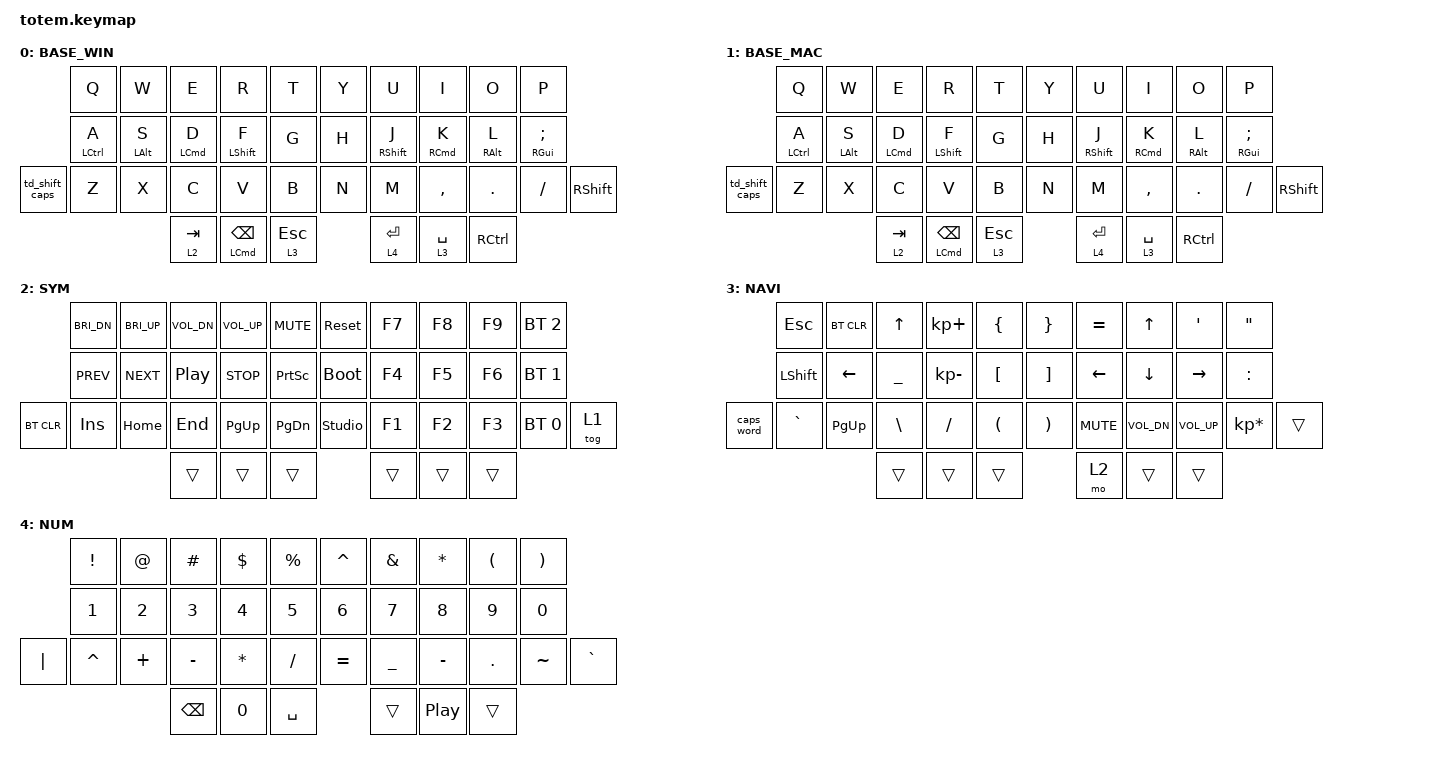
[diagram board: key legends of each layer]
//
//                                                        ▀▀▀▀▀     ▀▀▀▀▀          ▀▀█▀▀
//                                                        ▄▀▀▀▄  ▄  ▄▀▀▀▄  ▄  ▄▀▀▀▄  █  ▄▀▀▀▄
//                                                        █   █  █  █   █  █  █   █  █  █   █
//                                                         ▀▀▀   █   ▀▀▀   █   ▀▀▀   ▀   ▀▀▀
//                                                               █      ▄▄▄█▄▄▄    █   █  
//                                                               ▀      █  █  █     █▄█
//                                                             ▀▀▀▀▀    █  █  █      ▀
//                                                                      ▀  ▀  ▀
//
// ▄▄▄▄▄▄▄▄▄▄▄▄▄▄▄▄▄▄▄▄▄▄▄▄▄▄▄▄▄▄▄▄▄▄▄▄▄▄▄▄▄▄▄▄▄▄▄▄▄▄▄▄▄▄▄▄▄▄▄▄▄▄▄▄▄▄▄▄▄▄▄▄▄▄▄▄▄▄▄▄▄▄▄▄▄▄▄▄▄▄▄▄▄▄▄▄▄▄▄▄▄▄▄▄▄▄▄▄▄▄▄▄▄▄▄▄▄▄▄▄▄▄▄▄▄▄▄▄▄▄▄▄▄▄▄▄▄▄▄▄▄▄▄▄▄▄▄▄▄

#include <behaviors.dtsi>
#include <dt-bindings/zmk/bt.h>
#include <dt-bindings/zmk/keys.h>

#define BASE 0
#define NAV  1
#define SYM  2
#define ADJ  3

&mt {
    quick-tap-ms = <250>;
    global-quick-tap;
    flavor = "tap-preferred";
    tapping-term-ms = <160>;
};

&lt {
    quick-tap-ms = <250>;
    tapping-term-ms = <160>;
    flavor = "tap-preferred";
};

/ {
    behaviors {
        td_shift_caps: td_shift_caps {
            compatible = "zmk,behavior-tap-dance";
            #binding-cells = <0>;
            tapping-term-ms = <200>;
            bindings = <&kp LSHFT>, <&kp CAPS>;
        };
    };

    combos {
        compatible = "zmk,combos";

        combo_esc {
            timeout-ms = <50>;
            key-positions = <0 1>;
            bindings = <&kp ESC>;
        };
    };

    macros {
        gif: gif {
            label = "giphy";
            compatible = "zmk,behavior-macro";
            #binding-cells = <0>;
            bindings =
                <&macro_press>,
                <&kp LSHFT>,
                <&macro_tap>,
                <&kp N2>,
                <&macro_release>,
                <&kp LSHFT>,
                <&macro_tap>,
                <&kp G &kp I &kp F>;
        };
    };

    keymap {
        compatible = "zmk,keymap";

        // ▄▄▄▄▄▄▄▄▄▄▄▄▄▄▄▄▄▄▄▄▄▄▄▄▄▄▄▄▄▄▄▄▄▄▄▄▄▄▄▄▄▄▄▄▄▄▄▄▄▄▄▄▄▄▄▄▄▄▄▄▄▄▄▄▄▄▄▄▄▄▄▄▄▄▄▄▄▄▄▄▄▄▄▄▄▄▄▄▄▄▄▄▄▄▄▄▄▄▄▄▄▄▄▄▄▄▄▄▄▄▄▄▄▄▄▄▄▄▄▄▄▄▄▄▄▄▄▄▄▄▄▄▄▄▄▄▄▄▄▄▄▄▄▄▄▄▄▄▄

        windows_base {
            // ┏━━━━━━━━━━━━━━━━━━━━━━━━━━━━━━━━━━━━━━━┓

            label = "BASE_WIN";

            // ┗━━━━━━━━━━━━━━━━━━━━━━━━━━━━━━━━━━━━━━━┛
            //             ┏━━━━━━━━━━━┳━━━━━━━━━━━┳━━━━━━━━━━━┳━━━━━━━━━━━┳━━━━━━━━━━━┓   ┏━━━━━━━━━━━┳━━━━━━━━━━━┳━━━━━━━━━━━┳━━━━━━━━━━━┳━━━━━━━━━━━┓
            //             ┃     Q     ┃     W     ┃     E     ┃     R     ┃     T     ┃   ┃     Y     ┃     U     ┃     I     ┃     O     ┃     P     ┃
            //             ┣━━━━━━━━━━━╋━━━━━━━━━━━╋━━━━━━━━━━━╋━━━━━━━━━━━╋━━━━━━━━━━━┫   ┣━━━━━━━━━━━╋━━━━━━━━━━━╋━━━━━━━━━━━╋━━━━━━━━━━━╋━━━━━━━━━━━┫
            //             ┃  A/Ctrl   ┃   S/Alt   ┃   D/Cmd   ┃   F/Shft  ┃     G     ┃   ┃     H     ┃   J/Shft  ┃   K/Cmd   ┃   L/Alt   ┃   ;/Gui   ┃
            // ┏━━━━━━━━━━━╋━━━━━━━━━━━╋━━━━━━━━━━━╋━━━━━━━━━━━╋━━━━━━━━━━━╋━━━━━━━━━━━┫   ┣━━━━━━━━━━━╋━━━━━━━━━━━╋━━━━━━━━━━━╋━━━━━━━━━━━╋━━━━━━━━━━━╋━━━━━━━━━━━┓
            // ┃   Shift   ┃     Z     ┃     X     ┃     C     ┃     V     ┃     B     ┃   ┃     N     ┃     M     ┃     ,     ┃     .     ┃     /     ┃   RSHFT   ┃
            // ┗━━━━━━━━━━━┻━━━━━━━━━━━┻━━━━━━━━━━━╋━━━━━━━━━━━╋━━━━━━━━━━━╋━━━━━━━━━━━┫   ┣━━━━━━━━━━━╋━━━━━━━━━━━╋━━━━━━━━━━━╋━━━━━━━━━━━┻━━━━━━━━━━━┻━━━━━━━━━━━┛
            //                                     ┃  TAB/L2   ┃ BSPC/Cmd  ┃  ESC/L3   ┃   ┃ ENTER/L4  ┃  SPC/L3   ┃   RCTRL   ┃
            //                                     ┗━━━━━━━━━━━┻━━━━━━━━━━━┻━━━━━━━━━━━┛   ┗━━━━━━━━━━━┻━━━━━━━━━━━┻━━━━━━━━━━━┛

            bindings = <
                &kp Q  &kp W       &kp E        &kp R            &kp T      &kp Y        &kp U        &kp I          &kp O       &kp P
                &mt LCTRL A  &mt LALT S  &mt LCMD D  &mt LSHFT F      &kp G      &kp H        &mt RSHFT J  &mt RCMD K  &mt RALT L  &mt RGUI SEMI
&td_shift_caps  &kp Z  &kp X       &kp C        &kp V            &kp B      &kp N        &kp M        &kp COMMA      &kp DOT     &kp SLASH  &kp RSHIFT
                                   &lt 2 TAB      &mt LCMD BACKSPACE  &lt 3 ESC       &lt 4 ENTER  &lt 3 SPACE   &kp RCTRL
            >;
        };

        MAC_BASE {
            label = "BASE_MAC";
            bindings = <
                &kp Q  &kp W       &kp E       &kp R            &kp T      &kp Y        &kp U        &kp I       &kp O       &kp P
                &mt LCTRL A  &mt LALT S  &mt LCMD D  &mt LSHFT F      &kp G      &kp H        &mt RSHFT J  &mt RCMD K  &mt RALT L  &mt RGUI SEMI
&td_shift_caps  &kp Z  &kp X       &kp C       &kp V            &kp B      &kp N        &kp M        &kp COMMA   &kp DOT     &kp SLASH  &kp RSHIFT
                                   &lt 2 TAB      &mt LCMD BACKSPACE  &lt 3 ESC       &lt 4 ENTER  &lt 3 SPACE   &kp RCTRL
            >;
        };

        sym_layer {
            // ┏━━━━━━━━━━━━━━━━━━━━━━━━━━━━━━━━━━━━━━━┓

            label = "SYM";

            // ┗━━━━━━━━━━━━━━━━━━━━━━━━━━━━━━━━━━━━━━━┛
            //             ┏━━━━━━━━━━━┳━━━━━━━━━━━┳━━━━━━━━━━━┳━━━━━━━━━━━┳━━━━━━━━━━━┓   ┏━━━━━━━━━━━┳━━━━━━━━━━━┳━━━━━━━━━━━┳━━━━━━━━━━━┳━━━━━━━━━━━┓
            //             ┃  BRI DN   ┃  BRI UP   ┃  VOL DN   ┃  VOL UP   ┃   MUTE    ┃   ┃   RESET   ┃    F7     ┃    F8     ┃    F9     ┃   BT 2    ┃
            //             ┣━━━━━━━━━━━╋━━━━━━━━━━━╋━━━━━━━━━━━╋━━━━━━━━━━━╋━━━━━━━━━━━┫   ┣━━━━━━━━━━━╋━━━━━━━━━━━╋━━━━━━━━━━━╋━━━━━━━━━━━╋━━━━━━━━━━━┫
            //             ┃   PREV    ┃   NEXT    ┃   PLAY    ┃   STOP    ┃   PSCR    ┃   ┃ BOOTLOAD  ┃    F4     ┃    F5     ┃    F6     ┃   BT 1    ┃
            // ┏━━━━━━━━━━━╋━━━━━━━━━━━╋━━━━━━━━━━━╋━━━━━━━━━━━╋━━━━━━━━━━━╋━━━━━━━━━━━┫   ┣━━━━━━━━━━━╋━━━━━━━━━━━╋━━━━━━━━━━━╋━━━━━━━━━━━╋━━━━━━━━━━━╋━━━━━━━━━━━┓
            // ┃  BT CLR   ┃   INS     ┃   HOME    ┃    END    ┃   PG UP   ┃  PG DN    ┃   ┃  UNLOCK   ┃    F1     ┃    F2     ┃    F3     ┃   BT 0    ┃   TOG 1   ┃
            // ┗━━━━━━━━━━━┻━━━━━━━━━━━┻━━━━━━━━━━━╋━━━━━━━━━━━╋━━━━━━━━━━━╋━━━━━━━━━━━┫   ┣━━━━━━━━━━━╋━━━━━━━━━━━╋━━━━━━━━━━━╋━━━━━━━━━━━┻━━━━━━━━━━━┻━━━━━━━━━━━┛
            //                                     ┃   trans   ┃   trans   ┃   trans   ┃   ┃   trans   ┃   trans   ┃   trans   ┃
            //                                     ┗━━━━━━━━━━━┻━━━━━━━━━━━┻━━━━━━━━━━━┛   ┗━━━━━━━━━━━┻━━━━━━━━━━━┻━━━━━━━━━━━┛

            bindings = <
              &kp C_BRI_DN    &kp C_BRI_UP   &kp C_VOL_DN          &kp C_VOL_UP           &kp C_MUTE         &sys_reset      &kp F7  &kp F8  &kp F9  &bt BT_SEL 2
              &kp C_PREV      &kp C_NEXT     &kp C_PP              &kp C_STOP             &kp PSCRN          &bootloader     &kp F4  &kp F5  &kp F6  &bt BT_SEL 1
&bt BT_CLR  &kp INS         &kp HOME       &kp END               &kp PG_UP              &kp PG_DN          &studio_unlock  &kp F1  &kp F2  &kp F3  &bt BT_SEL 0  &tog 1
                                             &trans                &trans                 &trans             &trans          &trans  &trans
            >;
        };

        nav_layer {
            // ┏━━━━━━━━━━━━━━━━━━━━━━━━━━━━━━━━━━━━━━━┓

            label = "NAVI";

            // ┗━━━━━━━━━━━━━━━━━━━━━━━━━━━━━━━━━━━━━━━┛
            //             ┏━━━━━━━━━━━┳━━━━━━━━━━━┳━━━━━━━━━━━┳━━━━━━━━━━━┳━━━━━━━━━━━┓   ┏━━━━━━━━━━━┳━━━━━━━━━━━┳━━━━━━━━━━━┳━━━━━━━━━━━┳━━━━━━━━━━━┓
            //             ┃   ESC     ┃  BT_CLR   ┃     UP    ┃     +     ┃     {     ┃   ┃     }     ┃     =     ┃    UP     ┃     '     ┃     "     ┃
            //             ┣━━━━━━━━━━━╋━━━━━━━━━━━╋━━━━━━━━━━━╋━━━━━━━━━━━╋━━━━━━━━━━━┫   ┣━━━━━━━━━━━╋━━━━━━━━━━━╋━━━━━━━━━━━╋━━━━━━━━━━━╋━━━━━━━━━━━┫
            //             ┃   SHIFT   ┃   LEFT    ┃    DOWN   ┃     -     ┃     [     ┃   ┃     ]     ┃   LEFT    ┃    DOWN   ┃   RIGHT   ┃     :     ┃
            // ┏━━━━━━━━━━━╋━━━━━━━━━━━╋━━━━━━━━━━━╋━━━━━━━━━━━╋━━━━━━━━━━━╋━━━━━━━━━━━┫   ┣━━━━━━━━━━━╋━━━━━━━━━━━╋━━━━━━━━━━━╋━━━━━━━━━━━╋━━━━━━━━━━━╋━━━━━━━━━━━┓
            // ┃  CAPS WD  ┃   GRAVE   ┃   PG UP   ┃   CAPS    ┃     _     ┃     (     ┃   ┃     )     ┃   MUTE    ┃   VOL-    ┃   VOL+    ┃     *     ┃   trans   ┃
            // ┗━━━━━━━━━━━┻━━━━━━━━━━━┻━━━━━━━━━━━╋━━━━━━━━━━━╋━━━━━━━━━━━╋━━━━━━━━━━━┫   ┣━━━━━━━━━━━╋━━━━━━━━━━━╋━━━━━━━━━━━╋━━━━━━━━━━━┻━━━━━━━━━━━┻━━━━━━━━━━━┛
            //                                     ┃   trans   ┃   trans   ┃   trans   ┃   ┃   SYM/L2  ┃   trans   ┃   trans   ┃
            //                                     ┗━━━━━━━━━━━┻━━━━━━━━━━━┻━━━━━━━━━━━┛   ┗━━━━━━━━━━━┻━━━━━━━━━━━┻━━━━━━━━━━━┛

            bindings = <
            &kp ESC    &bt BT_CLR  &kp UP    &kp KP_PLUS  &kp LBRC    &kp RBRC  &kp EQUAL         &kp UP_ARROW        &kp SQT    &kp DQT
            &kp LSHFT  &kp LEFT    &kp UNDER  &kp KP_MINUS  &kp LBKT    &kp RBKT  &kp LEFT       &kp DOWN  &kp RIGHT  &kp COLON
&caps_word  &kp GRAVE  &kp PG_UP   &kp BSLH  &kp SLASH  &kp LPAR    &kp RPAR  &kp C_MUTE     &kp C_VOL_DN  &kp C_VOL_UP  &kp KP_MULTIPLY  &trans
                                   &trans    &trans     &trans      &mo 2     &trans         &trans
            >;
        };

        num_layer {
            // ┏━━━━━━━━━━━━━━━━━━━━━━━━━━━━━━━━━━━━━━━┓

            label = "NUM";

            // ┗━━━━━━━━━━━━━━━━━━━━━━━━━━━━━━━━━━━━━━━┛
            //             ┏━━━━━━━━━━━┳━━━━━━━━━━━┳━━━━━━━━━━━┳━━━━━━━━━━━┳━━━━━━━━━━━┓   ┏━━━━━━━━━━━┳━━━━━━━━━━━┳━━━━━━━━━━━┳━━━━━━━━━━━┳━━━━━━━━━━━┓
            //             ┃     !     ┃     @     ┃     #     ┃     $     ┃     %     ┃   ┃     ^     ┃     &     ┃     *     ┃     (     ┃     )     ┃
            //             ┣━━━━━━━━━━━╋━━━━━━━━━━━╋━━━━━━━━━━━╋━━━━━━━━━━━╋━━━━━━━━━━━┫   ┣━━━━━━━━━━━╋━━━━━━━━━━━╋━━━━━━━━━━━╋━━━━━━━━━━━╋━━━━━━━━━━━┫
            //             ┃     1     ┃     2     ┃     3     ┃     4     ┃     5     ┃   ┃     6     ┃     7     ┃     8     ┃     9     ┃     0     ┃
            // ┏━━━━━━━━━━━╋━━━━━━━━━━━╋━━━━━━━━━━━╋━━━━━━━━━━━╋━━━━━━━━━━━╋━━━━━━━━━━━┫   ┣━━━━━━━━━━━╋━━━━━━━━━━━╋━━━━━━━━━━━╋━━━━━━━━━━━╋━━━━━━━━━━━╋━━━━━━━━━━━┓
            // ┃     |     ┃     ^     ┃     +     ┃     -     ┃     *     ┃     /     ┃   ┃     =     ┃     _     ┃     -     ┃     .     ┃     ~     ┃     `     ┃
            // ┗━━━━━━━━━━━┻━━━━━━━━━━━┻━━━━━━━━━━━╋━━━━━━━━━━━╋━━━━━━━━━━━╋━━━━━━━━━━━┫   ┣━━━━━━━━━━━╋━━━━━━━━━━━╋━━━━━━━━━━━╋━━━━━━━━━━━┻━━━━━━━━━━━┻━━━━━━━━━━━┛
            //                                     ┃   BSPC    ┃     0     ┃    SPC    ┃   ┃   trans   ┃   C_PP    ┃   trans   ┃
            //                                     ┗━━━━━━━━━━━┻━━━━━━━━━━━┻━━━━━━━━━━━┛   ┗━━━━━━━━━━━┻━━━━━━━━━━━┻━━━━━━━━━━━┛

            bindings = <
        &kp EXCL          &kp AT_SIGN   &kp HASH      &kp DOLLAR    &kp PERCENT          &kp CARET  &kp AMPERSAND &kp ASTERISK          &kp LEFT_PARENTHESIS   &kp RIGHT_PARENTHESIS
        &kp N1            &kp N2        &kp N3        &kp N4        &kp N5               &kp N6     &kp N7        &kp N8                &kp N9                 &kp N0
&kp PIPE  &kp CARET         &kp PLUS      &kp MINUS     &kp ASTERISK  &kp SLASH       &kp EQUAL    &kp UNDER  &kp MINUS             &kp DOT                &kp TILDE  &kp GRAVE
                                        &kp BACKSPACE     &kp N0        &kp SPACE            &trans     &kp C_PP      &trans
            >;
        };
    };
};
